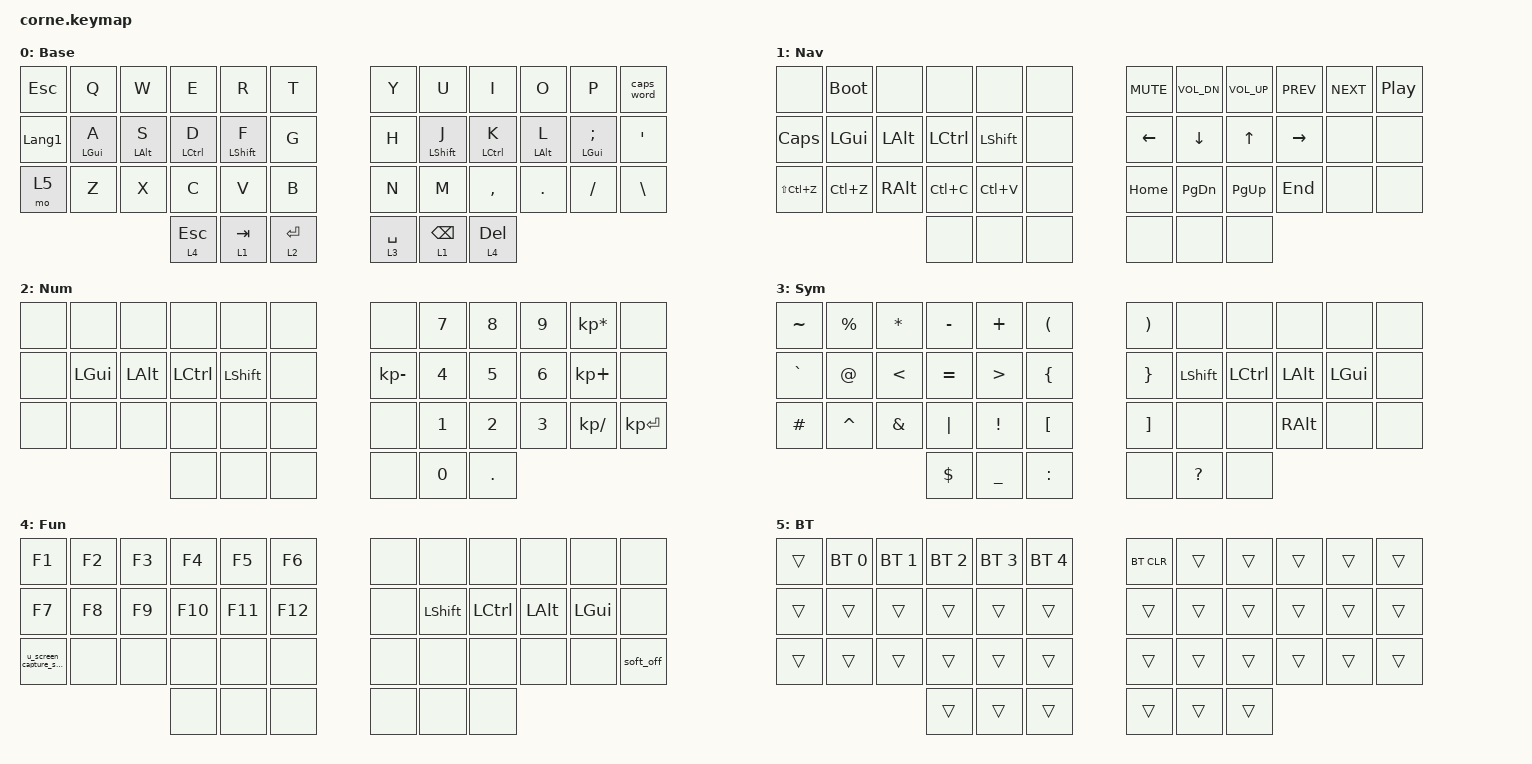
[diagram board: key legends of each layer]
#include <behaviors/mouse_key_press.dtsi>
#include <behaviors.dtsi>
#include <dt-bindings/zmk/bt.h>
#include <dt-bindings/zmk/keys.h>
#include <dt-bindings/zmk/outputs.h>

/ {
    keymap {
        compatible = "zmk,keymap";

        BASE {
            display-name = "Base";
            bindings = <
&kp ESCAPE      &kp Q         &kp W         &kp E          &kp R          &kp T            &kp Y          &kp U          &kp I          &kp O         &kp P            &caps_word
&kp LANGUAGE_1  &u_mt LGUI A  &u_mt LALT S  &u_mt LCTRL D  &u_mt LSHFT F  &kp G            &kp H          &u_mt LSHFT J  &u_mt LCTRL K  &u_mt LALT L  &u_mt LGUI SEMI  &kp SINGLE_QUOTE
&mo 5           &kp Z         &kp X         &kp C          &kp V          &kp B            &kp N          &kp M          &kp COMMA      &kp DOT       &kp SLASH        &kp BACKSLASH
                                            &u_lt 4 ESC    &u_lt 1 TAB    &u_lt 2 ENTER    &u_lt 3 SPACE  &u_lt 1 BSPC   &u_lt 4 DEL
            >;
        };

        NAV {
            display-name = "Nav";
            bindings = <
&none          &bootloader  &none     &none      &none      &none    &kp C_MUTE      &kp C_VOL_DN   &kp C_VOL_UP  &kp C_PREV  &kp C_NEXT  &kp C_PLAY_PAUSE
&kp CAPS       &kp LGUI     &kp LALT  &kp LCTRL  &kp LSHFT  &none    &kp LEFT_ARROW  &kp DOWN       &kp UP        &kp RIGHT   &none       &none
&kp LS(LC(Z))  &kp LC(Z)    &kp RALT  &kp LC(C)  &kp LC(V)  &none    &kp HOME        &kp PAGE_DOWN  &kp PAGE_UP   &kp END     &none       &none
                                      &none      &none      &none    &none           &none          &none
            >;
        };

        NUM {
            display-name = "Num";
            bindings = <
&none  &none     &none     &none      &none      &none    &none         &kp N7  &kp N8   &kp N9  &kp KP_MULTIPLY  &none
&none  &kp LGUI  &kp LALT  &kp LCTRL  &kp LSHFT  &none    &kp KP_MINUS  &kp N4  &kp N5   &kp N6  &kp KP_PLUS      &none
&none  &none     &none     &none      &none      &none    &none         &kp N1  &kp N2   &kp N3  &kp KP_DIVIDE    &kp KP_ENTER
                           &none      &none      &none    &none         &kp N0  &kp DOT
            >;
        };

        SYM {
            display-name = "Sym";
            bindings = <
&kp TILDE  &kp PERCENT  &kp ASTRK      &kp MINUS  &kp PLUS          &kp LPAR            &kp RIGHT_PARENTHESIS  &none         &none      &none     &none     &none
&kp GRAVE  &kp AT_SIGN  &kp LESS_THAN  &kp EQUAL  &kp GREATER_THAN  &kp LEFT_BRACE      &kp RIGHT_BRACE        &kp LSHFT     &kp LCTRL  &kp LALT  &kp LGUI  &none
&kp POUND  &kp CARET    &kp AMPERSAND  &kp PIPE   &kp EXCL          &kp LEFT_BRACKET    &kp RIGHT_BRACKET      &none         &none      &kp RALT  &none     &none
                                       &kp DLLR   &kp UNDER         &kp COLON           &none                  &kp QUESTION  &none
            >;
        };

        FUN {
            display-name = "Fun";
            bindings = <
&kp F1                    &kp F2  &kp F3  &kp F4   &kp F5   &kp F6     &none  &none      &none      &none     &none     &none
&kp F7                    &kp F8  &kp F9  &kp F10  &kp F11  &kp F12    &none  &kp LSHFT  &kp LCTRL  &kp LALT  &kp LGUI  &none
&u_screen_capture_select  &none   &none   &none    &none    &none      &none  &none      &none      &none     &none     &soft_off
                                          &none    &none    &none      &none  &none      &none
            >;

            label = "Function";
        };

        BT {
            bindings = <
&trans  &bt BT_SEL 0  &bt BT_SEL 1  &bt BT_SEL 2  &bt BT_SEL 3  &bt BT_SEL 4    &bt BT_CLR  &trans  &trans  &trans  &trans  &trans
&trans  &trans        &trans        &trans        &trans        &trans          &trans      &trans  &trans  &trans  &trans  &trans
&trans  &trans        &trans        &trans        &trans        &trans          &trans      &trans  &trans  &trans  &trans  &trans
                                    &trans        &trans        &trans          &trans      &trans  &trans
            >;

            label = "BT";
        };
    };
};

/ {
    combos {
        compatible = "zmk,combos";

        b_key_from_right {
            bindings = <&kp B>;
            key-positions = <30 31>;
        };

        left_boot_loader {
            bindings = <&bootloader>;
            key-positions = <24 5>;
        };

        right_boot_loader {
            bindings = <&bootloader>;
            key-positions = <6 35>;
        };
    };
};

/ {
    macros {
        u_macro_u_bt_sel_0: u_macro_u_bt_sel_0 {
            compatible = "zmk,behavior-macro";
            #binding-cells = <0>;
            wait-ms = <0>;
            bindings = <&bt BT_SEL 0 &bt BT_CLR>;
        };
    };
};

/ {
    behaviors {
    };
};

/ {
    macros {
        u_macro_u_bt_sel_1: u_macro_u_bt_sel_1 {
            compatible = "zmk,behavior-macro";
            #binding-cells = <0>;
            wait-ms = <0>;
            bindings = <&bt BT_SEL 1 &bt BT_CLR>;
        };
    };
};

/ {
    behaviors {
    };
};

/ {
    macros {
        u_macro_u_bt_sel_2: u_macro_u_bt_sel_2 {
            compatible = "zmk,behavior-macro";
            #binding-cells = <0>;
            wait-ms = <0>;
            bindings = <&bt BT_SEL 2 &bt BT_CLR>;
        };
    };
};

/ {
    behaviors {
    };
};

/ {
    macros {
        u_macro_u_bt_sel_3: u_macro_u_bt_sel_3 {
            compatible = "zmk,behavior-macro";
            #binding-cells = <0>;
            wait-ms = <0>;
            bindings = <&bt BT_SEL 3 &bt BT_CLR>;
        };
    };
};

/ {
    behaviors {
    };
};

/ {
    macros {
        u_macro_u_bt_sel_4: u_macro_u_bt_sel_4 {
            compatible = "zmk,behavior-macro";
            #binding-cells = <0>;
            wait-ms = <0>;
            bindings = <&bt BT_SEL 4 &bt BT_CLR>;
        };
    };
};

/ {
    behaviors {
    };
};

/ {
    behaviors {
        u_out_tog: u_out_tog {
            compatible = "zmk,behavior-mod-morph";
            #binding-cells = <0>;
            bindings = <&out OUT_TOG>, <&out OUT_USB>;

            mods = <(MOD_LSFT|MOD_RSFT)>;
        };
    };
};

/ {
    behaviors {
        u_caps_word: u_caps_word {
            compatible = "zmk,behavior-mod-morph";
            #binding-cells = <0>;
            bindings = <&caps_word>, <&kp CAPS>;

            mods = <(MOD_LSFT|MOD_RSFT)>;
        };
    };
};

/ {
    behaviors {
    };
};

/ {
    behaviors {
    };
};

/ {
    behaviors {
    };
};

/ {
    behaviors {
    };
};

/ {
    behaviors {
    };
};

/ {
    behaviors {
    };
};

/ {
    behaviors {
    };
};

/ {
    behaviors {
    };
};

/ {
    behaviors {
    };
};

/ {
    behaviors {
    };
};

/ {
    macros {
    };
};

/ {
    macros {
    };
};

/ {
    macros {
        u_screen_capture_select: u_screen_capture_select {
            compatible = "zmk,behavior-macro";
            #binding-cells = <0>;
            bindings = <&kp NUMBER_1 &kp B>;
            label = "U_SCREEN_CAPTURE_SELECT";
        };
    };
};

/ {
    behaviors {
        u_mt: u_mt {
            compatible = "zmk,behavior-hold-tap";
            #binding-cells = <2>;
            tapping-term-ms = <200>;
            flavor = "tap-preferred";
            bindings = <&kp>, <&kp>;
        };

        u_lt: u_lt {
            compatible = "zmk,behavior-hold-tap";
            #binding-cells = <2>;
            tapping-term-ms = <200>;
            flavor = "tap-preferred";
            bindings = <&mo>, <&kp>;
        };
    };
};
